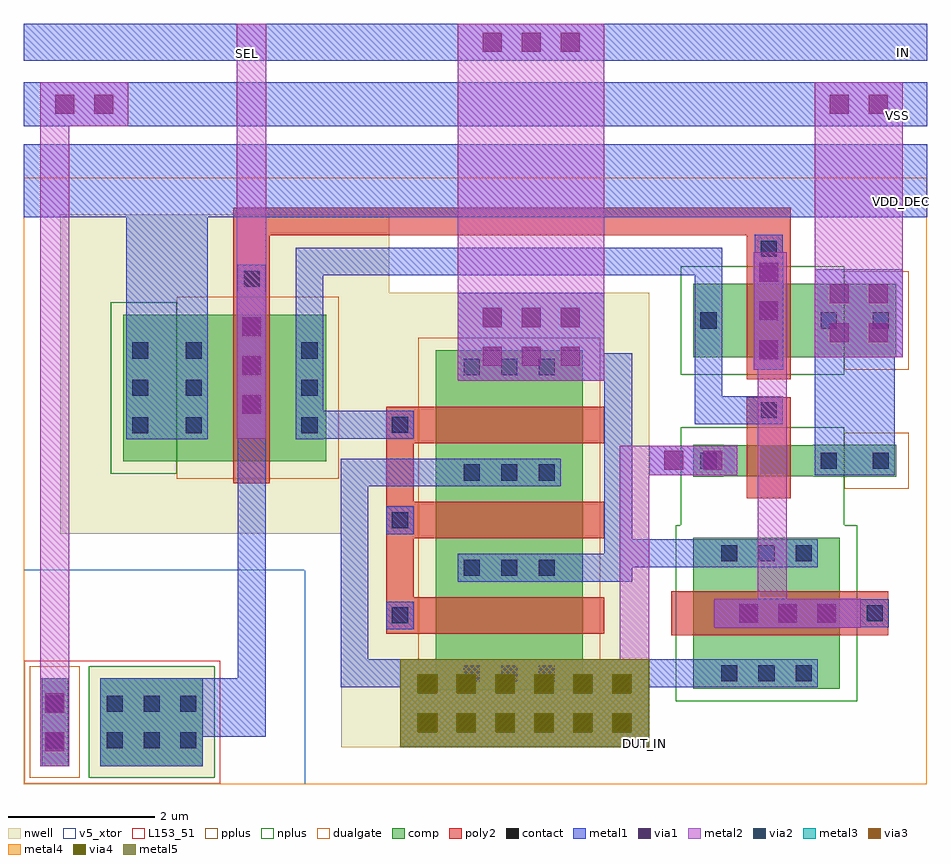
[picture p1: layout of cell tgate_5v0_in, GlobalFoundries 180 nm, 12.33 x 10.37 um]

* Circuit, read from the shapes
.subckt tgate_5v0_in DUT_IN IN SEL VDD_DEC VSS
XM1 IN SEL DUT_IN VSS nfet_05v0 w=2u l=0.6u
XM2 VSS n1 DUT_IN VSS nfet_05v0 w=0.42u l=0.6u
XM3 VSS SEL n1 VSS nfet_05v0 w=1u l=0.6u
XM4 n1 SEL VDD_DEC VDD_DEC pfet_05v0 w=2u l=0.5u
XM5 IN n1 DUT_IN VDD_DEC pfet_05v0 w=2u l=0.5u m=3
.ends

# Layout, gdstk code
from math import pi, radians
import gdstk
lib = gdstk.Library(unit=1e-6, precision=1e-09)
def R(c, l, rs):  # rectangles x0, y0, x1, y1
    for r in rs: c.add(gdstk.rectangle(r[:2], r[2:], *l))
def A(c, l, x, y, w, h, nx, ny, dx, dy):  # array of equal rectangles
    R(c, l, [(x+i*dx, y+j*dy, x+i*dx+w, y+j*dy+h) for i in range(nx) for j in range(ny)])
def P(c, l, *ps):  # polygons
    for p in ps: c.add(gdstk.Polygon(p, *l))
nwell = (21, 0)
comp = (22, 0)
poly2 = (30, 0)
pplus = (31, 0)
nplus = (32, 0)
contact = (33, 0)
metal1 = (34, 0)
via1 = (35, 0)
metal2 = (36, 0)
via2 = (38, 0)
via3 = (40, 0)
via4 = (41, 0)
metal3 = (42, 0)
metal4 = (46, 0)
dualgate = (55, 0)
metal5 = (81, 0)
v5_xtor = (112, 1)
L153_51 = (153, 51)

pfet_4 = lib.new_cell('pfet$4')
R(pfet_4, nwell, [(-1.24,-0.91,4.96,3.29)])
R(pfet_4, comp, [(-0.46,0,4.18,2)])
A(pfet_4, poly2, 0.31, -0.3, 0.5, 2.98, 3, 1, 1.3, 0)
R(pfet_4, pplus, [(-0.63,-0.24,4.35,2.24)])
A(pfet_4, contact, -0.34, 0.38, 0.22, 0.22, 1, 3, 0, 0.51)
A(pfet_4, contact, 1.1, 0.38, 0.22, 0.22, 1, 3, 0, 0.51)
A(pfet_4, contact, 2.4, 0.38, 0.22, 0.22, 1, 3, 0, 0.51)
A(pfet_4, contact, 3.84, 0.38, 0.22, 0.22, 1, 3, 0, 0.51)
A(pfet_4, contact, 0.45, 2.38, 0.22, 0.22, 3, 1, 1.3, 0)
A(pfet_4, metal1, 0.37, 2.3, 0.38, 0.38, 3, 1, 1.3, 0)
R(pfet_4, metal1, [(-0.42,0.3,-0.04,1.7), (1.02,0.3,1.4,1.7), (2.32,0.3,2.7,1.7), (3.76,0.3,4.14,1.7)])
R(pfet_4, dualgate, [(-1.74,-1.41,5.46,3.79)])
R(pfet_4, v5_xtor, [(-1.74,-1.41,5.46,3.79)])

nfet_3 = lib.new_cell('nfet$3')
R(nfet_3, comp, [(-0.42,0,1.64,2)])
R(nfet_3, poly2, [(0.31,-0.66,0.91,2.3)])
R(nfet_3, nplus, [(-0.59,-0.24,1.81,2.24)])
A(nfet_3, contact, -0.32, 0.38, 0.22, 0.22, 1, 3, 0, 0.51)
A(nfet_3, contact, 1.32, 0.38, 0.22, 0.22, 1, 3, 0, 0.51)
R(nfet_3, contact, [(0.5,-0.59,0.72,-0.37)])
R(nfet_3, metal1, [(0.42,-0.67,0.8,-0.29), (-0.4,0.3,-0.02,1.7), (1.24,0.3,1.62,1.7)])
R(nfet_3, dualgate, [(-0.84,-1.08,2.06,2.71)])
R(nfet_3, v5_xtor, [(-0.84,-1.08,2.06,2.71)])

nfet_4 = lib.new_cell('nfet$4')
R(nfet_4, comp, [(-0.42,0,2.35,1)])
R(nfet_4, poly2, [(0.31,-0.3,0.91,1.66)])
R(nfet_4, pplus, [(1.64,-0.17,2.52,1.17)])
R(nfet_4, nplus, [(-0.59,-0.24,1.64,1.24)])
R(nfet_4, contact, [(-0.32,0.39,-0.1,0.61), (1.32,0.39,1.54,0.61), (2.03,0.39,2.25,0.61), (0.5,1.37,0.72,1.59)])
R(nfet_4, metal1, [(-0.4,0.31,-0.02,0.69), (1.24,0.31,1.62,0.69), (1.95,0.31,2.33,0.69), (0.42,1.29,0.8,1.67)])
R(nfet_4, dualgate, [(-0.84,-0.71,2.77,2.08)])
R(nfet_4, v5_xtor, [(-0.84,-0.71,2.77,2.08)])

nfet_5 = lib.new_cell('nfet$5')
P(nfet_5, comp, [(-0.42,-0.01),(-0.42,0.43),(0,0.43),(0,0.42),(1.22,0.42),(1.22,0.43),(2.35,0.43),(2.35,-0.01),(1.22,-0.01),(1.22,0),(0,0),(0,-0.01)])
R(nfet_5, poly2, [(0.31,-0.3,0.91,1.08)])
R(nfet_5, pplus, [(1.64,-0.17,2.52,0.59)])
R(nfet_5, nplus, [(-0.59,-0.25,1.64,0.67)])
R(nfet_5, contact, [(-0.32,0.1,-0.1,0.32), (1.32,0.1,1.54,0.32), (2.03,0.1,2.25,0.32), (0.5,0.79,0.72,1.01)])
R(nfet_5, metal1, [(-0.4,0.02,-0.02,0.4), (1.24,0.02,1.62,0.4), (1.95,0.02,2.33,0.4), (0.42,0.71,0.8,1.09)])
R(nfet_5, dualgate, [(-0.84,-0.71,2.77,1.5)])
R(nfet_5, v5_xtor, [(-0.84,-0.71,2.77,1.5)])

via_dev_14_1 = lib.new_cell('via_dev$14$1')
R(via_dev_14_1, metal1, [(0,0,2,1.2)])
A(via_dev_14_1, via1, 0.34, 0.205, 0.26, 0.26, 3, 2, 0.53, 0.53)
R(via_dev_14_1, metal2, [(0,0,2,1.2)])

via_dev_17 = lib.new_cell('via_dev$17')
R(via_dev_17, metal1, [(0,0,3.4,1.2)])
A(via_dev_17, via1, 0.245, 0.205, 0.26, 0.26, 6, 2, 0.53, 0.53)
R(via_dev_17, metal2, [(0,0,3.4,1.2)])
A(via_dev_17, via2, 0.245, 0.205, 0.26, 0.26, 6, 2, 0.53, 0.53)
A(via_dev_17, via3, 0.245, 0.205, 0.26, 0.26, 6, 2, 0.53, 0.53)
A(via_dev_17, via4, 0.245, 0.205, 0.26, 0.26, 6, 2, 0.53, 0.53)
R(via_dev_17, metal3, [(0,0,3.4,1.2)])
R(via_dev_17, metal4, [(0,0,3.4,1.2)])
R(via_dev_17, metal5, [(0,0,3.4,1.2)])

pfet_3_1 = lib.new_cell('pfet$3$1')
R(pfet_3_1, nwell, [(-1.32,-1.37,3.17,2.99)])
R(pfet_3_1, comp, [(-0.46,0,2.31,2)])
R(pfet_3_1, poly2, [(0.31,-0.68,0.81,2.3)])
R(pfet_3_1, pplus, [(-0.63,-0.24,1.58,2.24)])
R(pfet_3_1, nplus, [(1.58,-0.17,2.48,2.17)])
A(pfet_3_1, contact, -0.34, 0.38, 0.22, 0.22, 1, 3, 0, 0.51)
A(pfet_3_1, contact, 1.24, 0.38, 0.22, 0.22, 1, 3, 0, 0.51)
A(pfet_3_1, contact, 1.97, 0.38, 0.22, 0.22, 1, 3, 0, 0.51)
R(pfet_3_1, contact, [(0.45,-0.6,0.67,-0.38)])
R(pfet_3_1, metal1, [(0.37,-0.68,0.75,-0.3), (-0.42,0.3,-0.04,1.7), (1.16,0.3,1.54,1.7), (1.89,0.3,2.27,1.7)])
R(pfet_3_1, dualgate, [(-1.82,-1.87,3.67,3.49)])
R(pfet_3_1, v5_xtor, [(-1.82,-1.87,3.67,3.49)])

via_dev_13_2 = lib.new_cell('via_dev$13$2')
R(via_dev_13_2, metal1, [(0,0,0.4,1.6)])
A(via_dev_13_2, via1, 0.07, 0.14, 0.26, 0.26, 1, 3, 0, 0.53)
R(via_dev_13_2, metal2, [(0,0,0.4,1.6)])

via_dev_4_1 = lib.new_cell('via_dev$4$1')
R(via_dev_4_1, metal1, [(0,0,0.4,2)])
A(via_dev_4_1, via1, 0.07, 0.34, 0.26, 0.26, 1, 3, 0, 0.53)
R(via_dev_4_1, metal2, [(0,0,0.4,2)])

via_dev_7_1 = lib.new_cell('via_dev$7$1')
R(via_dev_7_1, metal1, [(0,0,2,0.4)])
A(via_dev_7_1, via1, 0.34, 0.07, 0.26, 0.26, 3, 1, 0.53, 0)
R(via_dev_7_1, metal2, [(0,0,2,0.4)])

via_dev_12_2 = lib.new_cell('via_dev$12$2')
R(via_dev_12_2, metal1, [(0,0,0.4,1.2)])
R(via_dev_12_2, via1, [(0.07,0.205,0.33,0.465), (0.07,0.735,0.33,0.995)])
R(via_dev_12_2, metal2, [(0,0,0.4,1.2)])

via_dev_5_2 = lib.new_cell('via_dev$5$2')
R(via_dev_5_2, metal1, [(0,0,1.2,0.6)])
R(via_dev_5_2, via1, [(0.205,0.17,0.465,0.43), (0.735,0.17,0.995,0.43)])
R(via_dev_5_2, metal2, [(0,0,1.2,0.6)])

via_dev_8 = lib.new_cell('via_dev$8')
R(via_dev_8, metal1, [(0,0,1.2,1.2)])
R(via_dev_8, via1, [(0.205,0.205,0.465,0.465), (0.735,0.205,0.995,0.465), (0.205,0.735,0.465,0.995), (0.735,0.735,0.995,0.995)])
R(via_dev_8, metal2, [(0,0,1.2,1.2)])

diode_nw2ps = lib.new_cell('diode_nw2ps')
R(diode_nw2ps, nwell, [(0.64,-0.16,2.36,1.36)])
R(diode_nw2ps, comp, [(0,0,0.36,1.2), (0.8,0,2.2,1.2)])
R(diode_nw2ps, pplus, [(-0.16,-0.16,0.52,1.36)])
R(diode_nw2ps, nplus, [(0.64,-0.16,2.36,1.36)])
A(diode_nw2ps, contact, 0.89, 0.24, 0.22, 0.22, 3, 2, 0.5, 0.5)
R(diode_nw2ps, contact, [(0.07,0.24,0.29,0.46), (0.07,0.74,0.29,0.96)])
R(diode_nw2ps, metal1, [(0,0,0.36,1.2), (0.8,0,2.2,1.2)])
R(diode_nw2ps, dualgate, [(-0.24,-0.24,2.44,1.44)])
R(diode_nw2ps, L153_51, [(-0.24,-0.24,2.44,1.44)])

via_dev_15_1 = lib.new_cell('via_dev$15$1')
R(via_dev_15_1, metal1, [(0,0,1.2,0.4)])
R(via_dev_15_1, via1, [(0.205,0.07,0.465,0.33), (0.735,0.07,0.995,0.33)])
R(via_dev_15_1, metal2, [(0,0,1.2,0.4)])

via_dev_16 = lib.new_cell('via_dev$16')
R(via_dev_16, metal1, [(0,0,2,0.5)])
A(via_dev_16, via1, 0.34, 0.12, 0.26, 0.26, 3, 1, 0.53, 0)
R(via_dev_16, metal2, [(0,0,2,0.5)])

tgate_5v0_in = lib.new_cell('tgate_5v0_in')
R(tgate_5v0_in, poly2, [(1.265,0.465,1.645,3.565), (-0.44,5.5,-0.32,5.9)])
R(tgate_5v0_in, nplus, [(5.285,1.945,7.515,2.365)])
R(tgate_5v0_in, metal1, [(7.115,2.63,8.205,4.93), (-2.28,3.12,-1.17,6.45)])
R(tgate_5v0_in, metal2, [(2.245,5.115,4.245,8.285)])
R(tgate_5v0_in, dualgate, [(-3.68,-1.585,8.645,6.69)])
R(tgate_5v0_in, v5_xtor, [(0.155,-1.585,8.645,1.33), (-3.68,1.33,8.645,6.69)])
tgate_5v0_in.add(gdstk.FlexPath([(-3.68,8.535),(8.65,8.535)], 0.5, ends="flush", simple_path=True, layer=34, datatype=0))  # metal1
tgate_5v0_in.add(gdstk.FlexPath([(1.645,3.315),(0.14,3.315)], 0.38, ends="flush", simple_path=True, layer=34, datatype=0))  # metal1
tgate_5v0_in.add(gdstk.FlexPath([(-2.44,-0.54),(-0.38,-0.54)], 0.8, ends="flush", simple_path=True, layer=34, datatype=0))  # metal1
tgate_5v0_in.add(gdstk.FlexPath([(-3.68,7.69),(8.65,7.69)], 0.6, ends="flush", simple_path=True, layer=34, datatype=0))  # metal1
tgate_5v0_in.add(gdstk.FlexPath([(-3.68,6.645),(8.65,6.645)], 1, ends="flush", simple_path=True, layer=34, datatype=0))  # metal1
tgate_5v0_in.add(gdstk.FlexPath([(3.545,4.105),(4.435,4.105),(4.435,1.365),(3.4,1.365)], 0.38, ends="flush", simple_path=True, layer=34, datatype=0))  # metal1
tgate_5v0_in.add(gdstk.FlexPath([(2.545,2.665),(0.835,2.665),(0.835,-0.075),(2.47,-0.075)], 0.38, ends="flush", simple_path=True, layer=34, datatype=0))  # metal1
tgate_5v0_in.add(gdstk.FlexPath([(3.345,-0.075),(6.44,-0.075)], 0.38, ends="flush", simple_path=True, layer=34, datatype=0))  # metal1
tgate_5v0_in.add(gdstk.FlexPath([(5.85,1.565),(4.37,1.565)], 0.38, ends="flush", simple_path=True, layer=34, datatype=0))  # metal1
tgate_5v0_in.add(gdstk.FlexPath([(0.22,4.16),(0.22,5.545),(5.665,5.545),(5.665,4.55)], 0.38, ends="flush", simple_path=True, layer=34, datatype=0))  # metal1
tgate_5v0_in.add(gdstk.FlexPath([(-0.57,5.42),(-0.57,-0.625)], 0.38, ends="flush", simple_path=True, layer=34, datatype=0))  # metal1
tgate_5v0_in.add(gdstk.FlexPath([(5.665,4.69),(5.665,3.515),(6.675,3.515)], 0.38, ends="flush", simple_path=True, layer=34, datatype=0))  # metal1
tgate_5v0_in.add(gdstk.FlexPath([(-0.57,4.13),(-0.57,8.785)], 0.4, ends="flush", simple_path=True, layer=36, datatype=0))  # metal2
tgate_5v0_in.add(gdstk.FlexPath([(6.535,5.67),(6.535,0.545)], 0.4, ends="flush", simple_path=True, layer=36, datatype=0))  # metal2
tgate_5v0_in.add(gdstk.FlexPath([(6.005,2.83),(4.655,2.83),(4.655,-0.295)], 0.4, ends="flush", simple_path=True, layer=36, datatype=0))  # metal2
tgate_5v0_in.add(gdstk.FlexPath([(-3.255,-0.625),(-3.255,7.99)], 0.4, ends="flush", simple_path=True, layer=36, datatype=0))  # metal2
tgate_5v0_in.add(gdstk.FlexPath([(7.715,4.245),(7.715,7.99)], 1.2, ends="flush", simple_path=True, layer=36, datatype=0))  # metal2
tgate_5v0_in.add(gdstk.FlexPath([(-0.63,5.23),(-0.63,6.09),(6.785,6.09)], 0.38, ends="flush", simple_path=True, layer=30, datatype=0))  # poly2
tgate_5v0_in.add(gdstk.Reference(pfet_4, (3.945,0.155), rotation=pi/2))
tgate_5v0_in.add(gdstk.Reference(nfet_3, (7.455,0.135), rotation=pi/2))
tgate_5v0_in.add(gdstk.Reference(nfet_4, (5.875,4.24)))
tgate_5v0_in.add(gdstk.Reference(nfet_5, (5.875,2.615)))
tgate_5v0_in.add(gdstk.Reference(via_dev_14_1, (2.245,3.915)))
tgate_5v0_in.add(gdstk.Reference(via_dev_17, (1.455,-1.085)))
tgate_5v0_in.add(gdstk.Reference(pfet_3_1, (-0.01,4.82), rotation=pi))
tgate_5v0_in.add(gdstk.Reference(via_dev_13_2, (6.285,4.07)))
tgate_5v0_in.add(gdstk.Reference(via_dev_4_1, (-0.77,3.125)))
tgate_5v0_in.add(gdstk.Reference(via_dev_7_1, (5.745,0.545)))
tgate_5v0_in.add(gdstk.Reference(via_dev_12_2, (-3.455,-1.345)))
tgate_5v0_in.add(gdstk.Reference(via_dev_5_2, (-3.455,7.39)))
tgate_5v0_in.add(gdstk.Reference(via_dev_5_2, (7.115,7.39)))
tgate_5v0_in.add(gdstk.Reference(via_dev_8, (7.115,4.24)))
tgate_5v0_in.add(gdstk.Reference(diode_nw2ps, (-3.435,-1.34)))
tgate_5v0_in.add(gdstk.Reference(via_dev_15_1, (4.855,2.63)))
tgate_5v0_in.add(gdstk.Reference(via_dev_16, (2.245,8.285)))
tgate_5v0_in.add(gdstk.Label('IN', (8.32,8.395), layer=34, texttype=10))
tgate_5v0_in.add(gdstk.Label('VSS', (8.245,7.535), layer=34, texttype=10))
tgate_5v0_in.add(gdstk.Label('VDD_DEC', (8.3,6.365), layer=34, texttype=10))
tgate_5v0_in.add(gdstk.Label('SEL', (-0.63,8.38), layer=36, texttype=10))
tgate_5v0_in.add(gdstk.Label('DUT_IN', (4.79,-1.03), layer=36, texttype=10))

lib.write_gds('tgate_5v0_in.gds')
